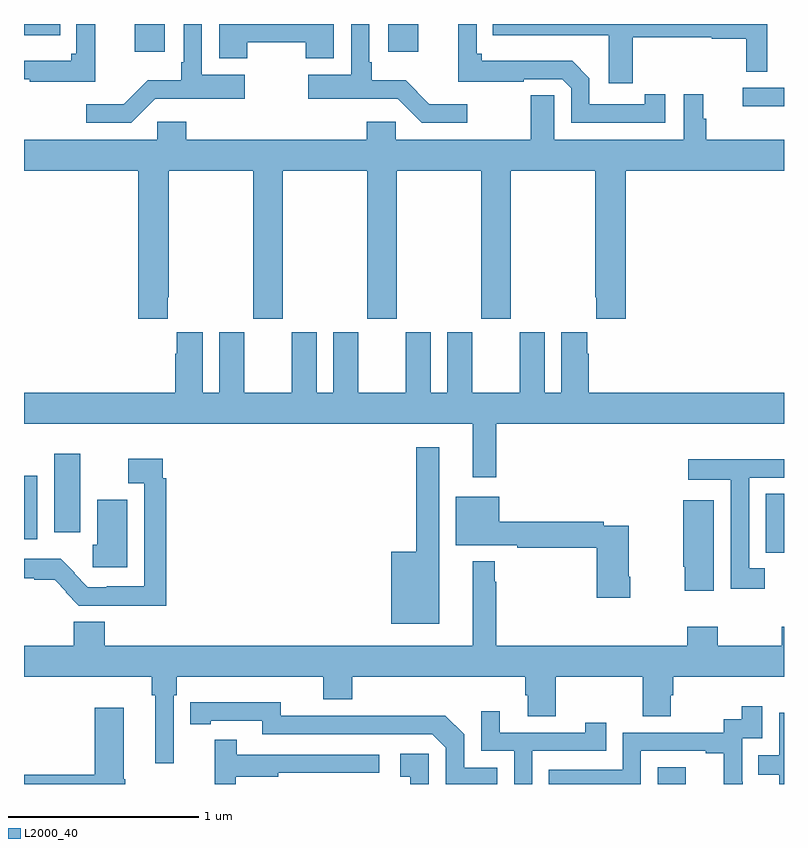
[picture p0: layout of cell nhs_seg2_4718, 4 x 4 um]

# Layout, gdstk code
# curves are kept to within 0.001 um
import gdstk
lib = gdstk.Library(unit=1e-6, precision=1e-09)
def R(c, l, rs):  # rectangles x0, y0, x1, y1
    for r in rs: c.add(gdstk.rectangle(r[:2], r[2:], *l))
def P(c, l, *ps):  # polygons
    for p in ps: c.add(gdstk.Polygon(p, *l))
L2000_40 = (2000, 40)

nhs_seg2_4718 = lib.new_cell('nhs_seg2_4718')
R(nhs_seg2_4718, L2000_40, [(372.336,585.8,372.484,585.889), (372.905,587.016,373,587.327), (369,587.088,369.07,587.422), (369.158,587.124,369.295,587.539), (372.783,589.367,373,589.464), (369.584,589.653,369.742,589.8), (370.916,589.653,371.074,589.8), (369,589.742,369.191,589.8)])
P(nhs_seg2_4718, L2000_40, [(369.374,589.8),(369.276,589.8),(369.276,589.644),(369.248,589.644),(369.248,589.606),(369,589.606),(369,589.509),(369.029,589.509),(369.029,589.497),(369.374,589.497)],
  [(370.176,589.703),(370.483,589.703),(370.483,589.619),(370.63,589.619),(370.63,589.8),(370.028,589.8),(370.028,589.619),(370.176,589.619)],
  [(372.376,589.429),(372.266,589.429),(372.266,589.377),(371.976,589.377),(371.976,589.515),(371.885,589.606),(371.41,589.606),(371.41,589.644),(371.382,589.644),(371.382,589.8),(371.285,589.8),(371.285,589.497),(371.629,589.497),(371.629,589.509),(371.832,589.509),(371.88,589.461),(371.88,589.281),(372.376,589.281)],
  [(369.691,589.407),(370.162,589.406),(370.162,589.534),(369.936,589.534),(369.936,589.8),(369.84,589.8),(369.84,589.6),(369.828,589.6),(369.828,589.504),(369.65,589.504),(369.524,589.378),(369.327,589.378),(369.327,589.281),(369.565,589.281)],
  [(372.205,589.731),(372.619,589.731),(372.619,589.723),(372.8,589.723),(372.8,589.549),(372.912,589.549),(372.912,589.8),(371.467,589.8),(371.467,589.742),(372.077,589.742),(372.077,589.488),(372.205,589.488)],
  [(371.332,589.378),(371.134,589.378),(371.008,589.504),(370.831,589.504),(370.831,589.6),(370.818,589.6),(370.818,589.8),(370.722,589.8),(370.722,589.534),(370.497,589.534),(370.497,589.406),(370.967,589.407),(371.093,589.281),(371.332,589.281)],
  [(369.757,588.361),(369.762,588.361),(369.762,589.028),(370.207,589.028),(370.207,588.249),(370.362,588.249),(370.362,589.028),(370.807,589.028),(370.807,588.249),(370.962,588.249),(370.962,589.028),(371.407,589.028),(371.407,588.249),(371.562,588.249),(371.562,589.028),(372.007,589.028),(372.007,588.361),(372.011,588.361),(372.011,588.249),(372.167,588.249),(372.167,589.028),(373,589.028),(373,589.192),(372.592,589.192),(372.592,589.302),(372.574,589.302),(372.574,589.429),(372.473,589.429),(372.473,589.192),(371.79,589.192),(371.79,589.424),(371.668,589.424),(371.668,589.192),(370.956,589.192),(370.956,589.285),(370.805,589.285),(370.805,589.192),(369.854,589.192),(369.854,589.285),(369.702,589.285),(369.702,589.192),(369,589.192),(369,589.028),(369.602,589.028),(369.602,588.249),(369.757,588.249)],
  [(371.485,587.696),(373,587.696),(373,587.86),(371.972,587.86),(371.972,588.065),(371.965,588.065),(371.965,588.178),(371.828,588.178),(371.828,587.86),(371.74,587.86),(371.74,588.178),(371.609,588.178),(371.609,587.86),(371.359,587.86),(371.359,588.178),(371.228,588.178),(371.228,587.86),(371.14,587.86),(371.14,588.178),(371.009,588.178),(371.009,587.86),(370.759,587.86),(370.759,588.178),(370.628,588.178),(370.628,587.86),(370.54,587.86),(370.54,588.178),(370.409,588.178),(370.409,587.86),(370.159,587.86),(370.159,588.178),(370.028,588.178),(370.028,587.86),(369.94,587.86),(369.94,588.178),(369.803,588.178),(369.803,588.065),(369.797,588.065),(369.797,587.86),(369,587.86),(369,587.696),(371.363,587.696),(371.363,587.415),(371.485,587.415)],
  [(371.185,587.572),(371.064,587.572),(371.064,587.023),(370.934,587.023),(370.934,586.643),(371.185,586.643)],
  [(369.749,587.408),(369.729,587.408),(369.729,587.512),(369.549,587.512),(369.549,587.384),(369.633,587.384),(369.633,586.84),(369.436,586.84),(369.436,586.836),(369.336,586.836),(369.264,586.908),(369.267,586.911),(369.193,586.985),(369,586.985),(369,586.883),(369.053,586.883),(369.053,586.875),(369.161,586.875),(369.223,586.813),(369.219,586.809),(369.289,586.739),(369.749,586.739)],
  [(372.898,586.935),(372.816,586.935),(372.816,587.412),(373,587.412),(373,587.508),(372.913,587.508),(372.913,587.51),(372.495,587.51),(372.495,587.402),(372.72,587.402),(372.72,586.827),(372.898,586.827)],
  [(372.192,586.891),(372.184,586.891),(372.184,587.16),(372.05,587.16),(372.05,587.18),(371.5,587.18),(371.5,587.311),(371.273,587.311),(371.273,587.057),(371.596,587.057),(371.596,587.044),(372.014,587.044),(372.014,586.779),(372.192,586.779)],
  [(369.544,587.296),(369.386,587.296),(369.386,587.058),(369.363,587.058),(369.363,586.941),(369.544,586.941)],
  [(372.631,587.293),(372.47,587.293),(372.47,586.944),(372.478,586.944),(372.478,586.818),(372.631,586.818)],
  [(369.789,586.268),(369.803,586.268),(369.803,586.364),(370.574,586.364),(370.574,586.247),(370.727,586.247),(370.727,586.364),(371.639,586.364),(371.639,586.266),(371.651,586.266),(371.651,586.156),(371.799,586.156),(371.799,586.364),(372.256,586.364),(372.256,586.156),(372.403,586.156),(372.403,586.266),(372.416,586.266),(372.416,586.364),(373,586.364),(373,586.627),(372.988,586.627),(372.988,586.528),(372.651,586.528),(372.651,586.627),(372.491,586.627),(372.491,586.528),(371.485,586.528),(371.485,586.865),(371.478,586.865),(371.478,586.972),(371.363,586.972),(371.363,586.528),(369.424,586.528),(369.424,586.654),(369.263,586.654),(369.263,586.528),(369,586.528),(369,586.364),(369.673,586.364),(369.673,586.268),(369.692,586.268),(369.692,585.909),(369.789,585.909)],
  [(371.49,585.885),(371.316,585.885),(371.316,586.062),(371.218,586.16),(370.81,586.16),(370.81,586.158),(370.35,586.158),(370.35,586.231),(369.874,586.23),(369.874,586.114),(369.982,586.114),(369.982,586.134),(370.254,586.134),(370.254,586.062),(371.148,586.062),(371.22,585.99),(371.22,585.8),(371.49,585.8)],
  [(372.246,585.975),(372.587,585.975),(372.587,585.963),(372.683,585.963),(372.683,585.8),(372.782,585.8),(372.782,585.812),(372.78,585.812),(372.78,586.041),(372.885,586.041),(372.885,586.21),(372.777,586.21),(372.777,586.14),(372.684,586.14),(372.684,586.071),(372.15,586.071),(372.15,585.876),(371.761,585.876),(371.761,585.8),(372.246,585.8)],
  [(369.534,585.825),(369.526,585.825),(369.526,586.201),(369.373,586.201),(369.373,585.848),(369,585.848),(369,585.8),(369.534,585.8)],
  [(371.676,585.975),(372.065,585.975),(372.065,586.123),(371.954,586.123),(371.954,586.071),(371.503,586.071),(371.503,586.183),(371.406,586.183),(371.406,585.975),(371.58,585.975),(371.58,585.8),(371.676,585.8)],
  [(373,586.176),(372.975,586.176),(372.975,585.951),(372.865,585.951),(372.865,585.85),(372.975,585.85),(372.975,585.8),(373,585.8)],
  [(370.114,585.838),(370.337,585.838),(370.337,585.858),(370.87,585.858),(370.87,585.954),(370.121,585.954),(370.121,586.033),(370.004,586.033),(370.004,585.8),(370.114,585.8)],
  [(371.13,585.958),(370.98,585.958),(370.98,585.837),(371.033,585.837),(371.033,585.8),(371.13,585.8)])

lib.write_gds('nhs_seg2_4718.gds')
